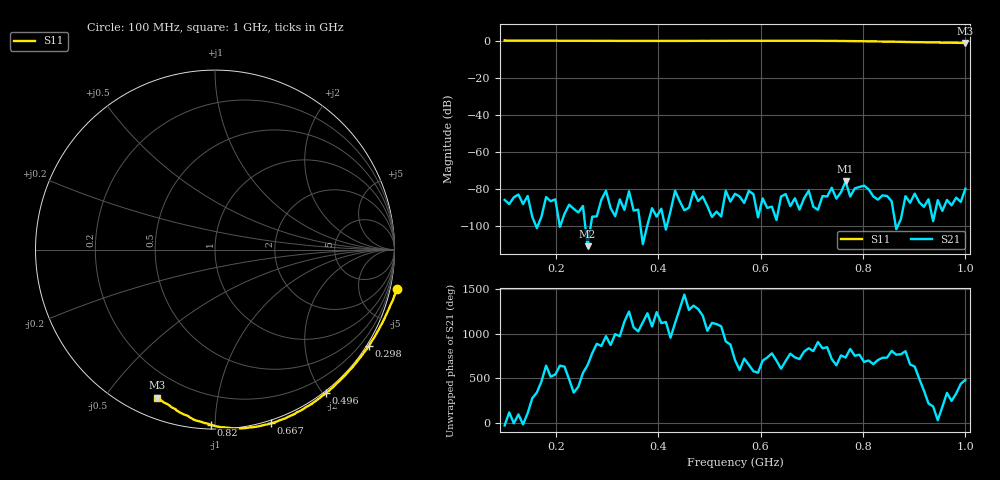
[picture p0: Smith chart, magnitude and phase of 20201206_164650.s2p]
# HZ S RI R 50
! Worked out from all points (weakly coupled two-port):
!   101 points, 100 MHz to 1 GHz, reference 50 ohm
!   highest |S21| = -75.75 dB at 766 MHz (marker M1); lowest = -110.7 dB at 262 MHz (marker M2)
!   lowest |S11| = -1.1 dB at 1 GHz (marker M3), VSWR 16.41, Z = 4.46 - j34 ohm
!   |S11| at or under -10 dB: nowhere
!   S12 and S22 are empty: the file has one direction only
!   S11 on the Smith chart (normalised r, x): 100 MHz: -1.53, -9.11; 298 MHz: -0.07, -3.49; 496 MHz: -0.03, -2.04; 667 MHz: -0.02, -1.37; 820 MHz: 0.02, -0.98; 1 GHz: 0.09, -0.68
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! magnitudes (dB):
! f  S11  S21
! 100 MHz  0.3  -85.8
! 253 MHz  0.1  -89.0
! 262 MHz  0.1  -110.7
! 298 MHz  0.1  -80.8
! 406 MHz  0.1  -90.5
! 496 MHz  0.1  -89.1
! 550 MHz  0.1  -82.4
! 667 MHz  0.1  -84.9
! 703 MHz  0.1  -89.5
! 730 MHz  0.1  -83.9
! 739 MHz  0.1  -79.2
! 748 MHz  0.0  -85.0
! 757 MHz  0.0  -81.7
! 766 MHz  0.0  -75.8
! 775 MHz  0.0  -83.9
! 784 MHz  -0.1  -79.5
! 802 MHz  -0.1  -78.0
! 811 MHz  -0.2  -80.0
! 820 MHz  -0.2  -83.8
! 856 MHz  -0.4  -86.5
! 991 MHz  -1.0  -86.8
! 1 GHz  -1.1  -79.7
